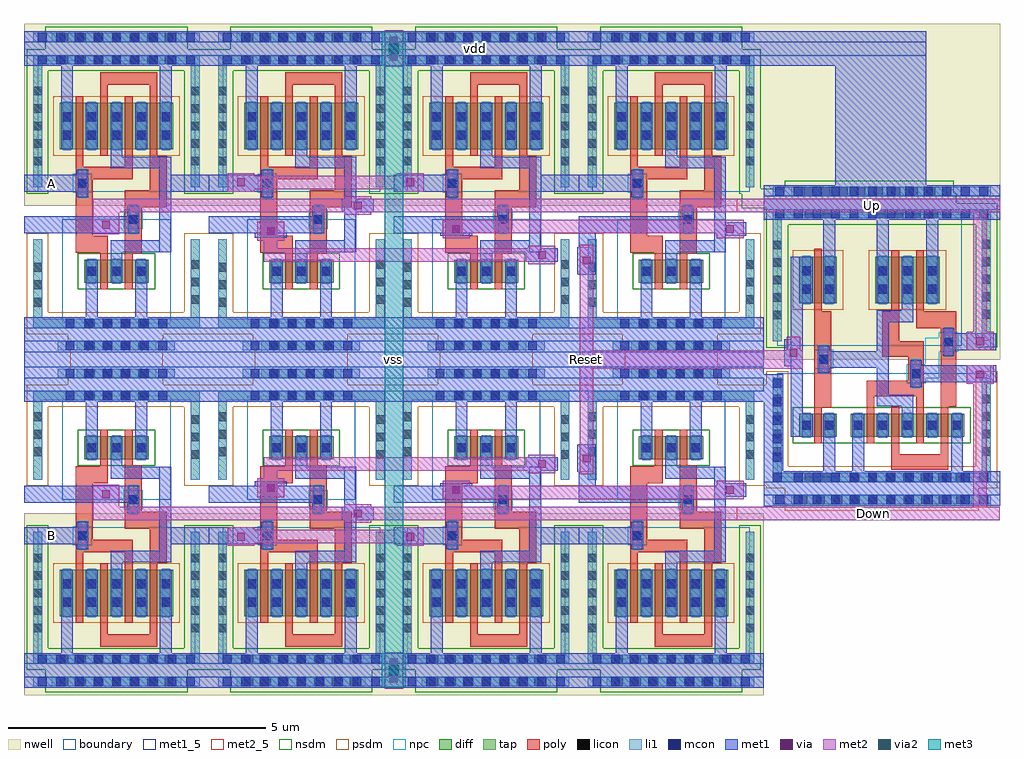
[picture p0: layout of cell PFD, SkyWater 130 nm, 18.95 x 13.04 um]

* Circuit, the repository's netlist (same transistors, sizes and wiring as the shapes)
**.subckt PFD vdd vss A B Down Up Reset
*.iopin vdd
*.iopin vss
*.ipin A
*.ipin B
*.opin Down
*.opin Up
*.iopin Reset
x1 vdd A Up Reset vss DFF
x2 vdd B Down Reset vss DFF
x3 vdd Reset Up Down vss and_pfd
**.ends

* expanding   symbol:  DFF.sym # of pins=5
* sym_path: /home/dhernando/caravel_analog_fulgor/xschem/DFF.sym
* sch_path: /home/dhernando/caravel_analog_fulgor/xschem/DFF.sch
.subckt DFF  D CLK Q Reset vss
*.ipin D
*.ipin CLK
*.opin Q
*.ipin Reset
*.iopin vss
x1 D CLK Q P vss nor
x2 D P P1 Q vss nor
x3 D P P2 P1 vss nor
x4 D P1 Reset P2 vss nor
.ends


* expanding   symbol:  and_pfd.sym # of pins=5
* sym_path: /home/dhernando/caravel_analog_fulgor/xschem/and_pfd.sym
* sch_path: /home/dhernando/caravel_analog_fulgor/xschem/and_pfd.sch
.subckt and_pfd  vdd out A B vss
*.iopin vdd
*.iopin vss
*.opin out
*.ipin A
*.ipin B
XM1 out_nand A net1 vss sky130_fd_pr__nfet_01v8 L=0.15 W=0.45 nf=1 ad='int((nf+1)/2) * W/nf * 0.29' as='int((nf+2)/2) * W/nf * 0.29'
+ pd='2*int((nf+1)/2) * (W/nf + 0.29)' ps='2*int((nf+2)/2) * (W/nf + 0.29)' nrd='0.29 / W' nrs='0.29 / W'
+ sa=0 sb=0 sd=0 mult=1 m=1 
XM2 out_nand A vdd vdd sky130_fd_pr__pfet_01v8 L=0.15 W=0.9 nf=1 ad='int((nf+1)/2) * W/nf * 0.29' as='int((nf+2)/2) * W/nf * 0.29'
+ pd='2*int((nf+1)/2) * (W/nf + 0.29)' ps='2*int((nf+2)/2) * (W/nf + 0.29)' nrd='0.29 / W' nrs='0.29 / W'
+ sa=0 sb=0 sd=0 mult=1 m=1 
XM3 net1 B vss vss sky130_fd_pr__nfet_01v8 L=0.15 W=0.45 nf=1 ad='int((nf+1)/2) * W/nf * 0.29' as='int((nf+2)/2) * W/nf * 0.29'
+ pd='2*int((nf+1)/2) * (W/nf + 0.29)' ps='2*int((nf+2)/2) * (W/nf + 0.29)' nrd='0.29 / W' nrs='0.29 / W'
+ sa=0 sb=0 sd=0 mult=1 m=1 
XM4 out_nand B net2 vss sky130_fd_pr__nfet_01v8 L=0.15 W=0.45 nf=1 ad='int((nf+1)/2) * W/nf * 0.29' as='int((nf+2)/2) * W/nf * 0.29'
+ pd='2*int((nf+1)/2) * (W/nf + 0.29)' ps='2*int((nf+2)/2) * (W/nf + 0.29)' nrd='0.29 / W' nrs='0.29 / W'
+ sa=0 sb=0 sd=0 mult=1 m=1 
XM5 net2 A vss vss sky130_fd_pr__nfet_01v8 L=0.15 W=0.45 nf=1 ad='int((nf+1)/2) * W/nf * 0.29' as='int((nf+2)/2) * W/nf * 0.29'
+ pd='2*int((nf+1)/2) * (W/nf + 0.29)' ps='2*int((nf+2)/2) * (W/nf + 0.29)' nrd='0.29 / W' nrs='0.29 / W'
+ sa=0 sb=0 sd=0 mult=1 m=1 
XM6 out_nand B vdd vdd sky130_fd_pr__pfet_01v8 L=0.15 W=0.9 nf=1 ad='int((nf+1)/2) * W/nf * 0.29' as='int((nf+2)/2) * W/nf * 0.29'
+ pd='2*int((nf+1)/2) * (W/nf + 0.29)' ps='2*int((nf+2)/2) * (W/nf + 0.29)' nrd='0.29 / W' nrs='0.29 / W'
+ sa=0 sb=0 sd=0 mult=1 m=1 
XM7 out out_nand vdd vdd sky130_fd_pr__pfet_01v8 L=0.15 W=0.9 nf=1 ad='int((nf+1)/2) * W/nf * 0.29' as='int((nf+2)/2) * W/nf * 0.29'
+ pd='2*int((nf+1)/2) * (W/nf + 0.29)' ps='2*int((nf+2)/2) * (W/nf + 0.29)' nrd='0.29 / W' nrs='0.29 / W'
+ sa=0 sb=0 sd=0 mult=1 m=1 
XM8 out out_nand vss vss sky130_fd_pr__nfet_01v8 L=0.15 W=0.45 nf=1 ad='int((nf+1)/2) * W/nf * 0.29'
+ as='int((nf+2)/2) * W/nf * 0.29' pd='2*int((nf+1)/2) * (W/nf + 0.29)' ps='2*int((nf+2)/2) * (W/nf + 0.29)'
+ nrd='0.29 / W' nrs='0.29 / W' sa=0 sb=0 sd=0 mult=1 m=1 
.ends


* expanding   symbol:  nor.sym # of pins=5
* sym_path: /home/dhernando/caravel_analog_fulgor/xschem/nor.sym
* sch_path: /home/dhernando/caravel_analog_fulgor/xschem/nor.sch
.subckt nor  vdd A B out vss
*.ipin A
*.ipin B
*.iopin vdd
*.opin out
*.iopin vss
XM1 out A vss vss sky130_fd_pr__nfet_01v8 L=0.15 W=0.45 nf=1 ad='int((nf+1)/2) * W/nf * 0.29' as='int((nf+2)/2) * W/nf * 0.29'
+ pd='2*int((nf+1)/2) * (W/nf + 0.29)' ps='2*int((nf+2)/2) * (W/nf + 0.29)' nrd='0.29 / W' nrs='0.29 / W'
+ sa=0 sb=0 sd=0 mult=1 m=1 
XM2 out B vss vss sky130_fd_pr__nfet_01v8 L=0.15 W=0.45 nf=1 ad='int((nf+1)/2) * W/nf * 0.29' as='int((nf+2)/2) * W/nf * 0.29'
+ pd='2*int((nf+1)/2) * (W/nf + 0.29)' ps='2*int((nf+2)/2) * (W/nf + 0.29)' nrd='0.29 / W' nrs='0.29 / W'
+ sa=0 sb=0 sd=0 mult=1 m=1 
XM4 out B net1 vdd sky130_fd_pr__pfet_01v8 L=0.15 W=0.9 nf=1 ad='int((nf+1)/2) * W/nf * 0.29' as='int((nf+2)/2) * W/nf * 0.29'
+ pd='2*int((nf+1)/2) * (W/nf + 0.29)' ps='2*int((nf+2)/2) * (W/nf + 0.29)' nrd='0.29 / W' nrs='0.29 / W'
+ sa=0 sb=0 sd=0 mult=1 m=1 
XM3 net1 A vdd vdd sky130_fd_pr__pfet_01v8 L=0.15 W=0.9 nf=1 ad='int((nf+1)/2) * W/nf * 0.29' as='int((nf+2)/2) * W/nf * 0.29'
+ pd='2*int((nf+1)/2) * (W/nf + 0.29)' ps='2*int((nf+2)/2) * (W/nf + 0.29)' nrd='0.29 / W' nrs='0.29 / W'
+ sa=0 sb=0 sd=0 mult=1 m=1 
XM5 net2 B vdd vdd sky130_fd_pr__pfet_01v8 L=0.15 W=0.9 nf=1 ad='int((nf+1)/2) * W/nf * 0.29' as='int((nf+2)/2) * W/nf * 0.29'
+ pd='2*int((nf+1)/2) * (W/nf + 0.29)' ps='2*int((nf+2)/2) * (W/nf + 0.29)' nrd='0.29 / W' nrs='0.29 / W'
+ sa=0 sb=0 sd=0 mult=1 m=1 
XM6 out A net2 vdd sky130_fd_pr__pfet_01v8 L=0.15 W=0.9 nf=1 ad='int((nf+1)/2) * W/nf * 0.29' as='int((nf+2)/2) * W/nf * 0.29'
+ pd='2*int((nf+1)/2) * (W/nf + 0.29)' ps='2*int((nf+2)/2) * (W/nf + 0.29)' nrd='0.29 / W' nrs='0.29 / W'
+ sa=0 sb=0 sd=0 mult=1 m=1 
.ends

** flattened .save nodes
.end

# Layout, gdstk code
from math import pi, radians
import gdstk
lib = gdstk.Library(unit=1e-6, precision=1e-09)
def R(c, l, rs):  # rectangles x0, y0, x1, y1
    for r in rs: c.add(gdstk.rectangle(r[:2], r[2:], *l))
def A(c, l, x, y, w, h, nx, ny, dx, dy):  # array of equal rectangles
    R(c, l, [(x+i*dx, y+j*dy, x+i*dx+w, y+j*dy+h) for i in range(nx) for j in range(ny)])
nwell = (64, 20)
diff = (65, 20)
tap = (65, 44)
poly = (66, 20)
licon = (66, 44)
li1 = (67, 20)
mcon = (67, 44)
met1_5 = (68, 5)
met1 = (68, 20)
via = (68, 44)
met2_5 = (69, 5)
met2 = (69, 20)
via2 = (69, 44)
met3 = (70, 20)
nsdm = (93, 44)
psdm = (94, 20)
npc = (95, 20)
boundary = (235, 4)

sky130_fd_pr__pfet_01v8_ = lib.new_cell('sky130_fd_pr__pfet_01v8_4F7GBC')
R(sky130_fd_pr__pfet_01v8_, nwell, [(-1.055,-1.545,1.055,1.545)])
R(sky130_fd_pr__pfet_01v8_, diff, [(-0.365,-0.45,0.365,0.45)])
R(sky130_fd_pr__pfet_01v8_, tap, [(0.705,-1.195,0.875,1.195), (-0.705,1.195,0.875,1.365)])
R(sky130_fd_pr__pfet_01v8_, poly, [(-0.255,-0.935,0.075,-0.605), (-0.075,-0.605,0.075,0.605)])
A(sky130_fd_pr__pfet_01v8_, licon, 0.705, -0.765, 0.17, 0.17, 1, 5, 0, 0.34)
R(sky130_fd_pr__pfet_01v8_, licon, [(-0.305,-0.255,-0.135,-0.085), (0.135,-0.255,0.305,-0.085), (-0.305,0.085,-0.135,0.255), (0.135,0.085,0.305,0.255), (-0.255,1.195,-0.085,1.365), (0.085,1.195,0.255,1.365)])
R(sky130_fd_pr__pfet_01v8_, li1, [(0.705,-1.195,0.875,1.195), (-0.305,-0.47,-0.135,0.47), (0.135,-0.47,0.305,0.47), (-0.705,1.195,0.875,1.365)])
R(sky130_fd_pr__pfet_01v8_, mcon, [(-0.305,-0.265,-0.135,-0.095), (0.135,-0.265,0.305,-0.095), (-0.305,0.095,-0.135,0.265), (0.135,0.095,0.305,0.265)])
R(sky130_fd_pr__pfet_01v8_, met1, [(-0.335,-0.45,-0.105,0.45), (0.105,-0.45,0.335,0.45)])
R(sky130_fd_pr__pfet_01v8_, nsdm, [(0.58,-1.32,1,1.07), (-0.83,1.07,1,1.49)])
R(sky130_fd_pr__pfet_01v8_, psdm, [(-0.49,-0.575,0.49,0.575)])
R(sky130_fd_pr__pfet_01v8_, boundary, [(-0.79,-1.28,0.79,1.28)])

sky130_fd_pr__nfet_01v8_ = lib.new_cell('sky130_fd_pr__nfet_01v8_ZXAV3F')
R(sky130_fd_pr__nfet_01v8_, diff, [(-0.365,-0.225,0.365,0.225)])
R(sky130_fd_pr__nfet_01v8_, tap, [(-0.705,-1.095,0.875,-0.925), (0.705,-0.925,0.875,0.925)])
R(sky130_fd_pr__nfet_01v8_, poly, [(-0.075,-0.355,0.075,0.335), (-0.165,0.335,0.075,0.665)])
A(sky130_fd_pr__nfet_01v8_, licon, 0.705, -0.595, 0.17, 0.17, 1, 4, 0, 0.34)
R(sky130_fd_pr__nfet_01v8_, licon, [(-0.255,-1.095,-0.085,-0.925), (0.085,-1.095,0.255,-0.925), (-0.305,-0.085,-0.135,0.085), (0.135,-0.085,0.305,0.085)])
R(sky130_fd_pr__nfet_01v8_, li1, [(-0.705,-1.095,0.875,-0.925), (0.705,-0.925,0.875,0.925), (-0.305,-0.245,-0.135,0.245), (0.135,-0.245,0.305,0.245)])
R(sky130_fd_pr__nfet_01v8_, mcon, [(-0.305,-0.085,-0.135,0.085), (0.135,-0.085,0.305,0.085)])
R(sky130_fd_pr__nfet_01v8_, met1, [(-0.335,-0.225,-0.105,0.225), (0.105,-0.225,0.335,0.225)])
R(sky130_fd_pr__nfet_01v8_, nsdm, [(-0.49,-0.35,0.49,0.35)])
R(sky130_fd_pr__nfet_01v8_, psdm, [(-0.83,-1.22,1,-0.8), (0.58,-0.8,1,1.05)])
R(sky130_fd_pr__nfet_01v8_, boundary, [(-0.79,-1.01,0.79,1.01)])

c_sky130_fd_pr__nfet_01v8_ = lib.new_cell('sky130_fd_pr__nfet_01v8_ZCYAJJ')
R(c_sky130_fd_pr__nfet_01v8_, diff, [(-1.105,-0.225,1.105,0.225)])
R(c_sky130_fd_pr__nfet_01v8_, tap, [(-1.615,-1.095,1.445,-0.925), (-1.615,-0.925,-1.445,0.925)])
R(c_sky130_fd_pr__nfet_01v8_, poly, [(-0.795,-0.865,0.315,-0.565), (-0.795,-0.565,-0.645,0.355), (0.165,-0.565,0.315,0.355), (-0.315,-0.355,-0.165,0.565), (0.645,-0.355,0.795,0.565), (-0.315,0.565,0.795,0.865)])
A(c_sky130_fd_pr__nfet_01v8_, licon, -1.105, -1.095, 0.17, 0.17, 7, 1, 0.34, 0)
A(c_sky130_fd_pr__nfet_01v8_, licon, -1.615, -0.595, 0.17, 0.17, 1, 4, 0, 0.34)
A(c_sky130_fd_pr__nfet_01v8_, licon, -1.045, -0.085, 0.17, 0.17, 5, 1, 0.48, 0)
A(c_sky130_fd_pr__nfet_01v8_, li1, -1.045, -0.245, 0.17, 0.49, 5, 1, 0.48, 0)
R(c_sky130_fd_pr__nfet_01v8_, li1, [(-1.615,-1.095,1.445,-0.925), (-1.615,-0.925,-1.445,0.925)])
A(c_sky130_fd_pr__nfet_01v8_, mcon, -1.045, -0.085, 0.17, 0.17, 5, 1, 0.48, 0)
A(c_sky130_fd_pr__nfet_01v8_, met1, -1.075, -0.225, 0.23, 0.45, 5, 1, 0.48, 0)
R(c_sky130_fd_pr__nfet_01v8_, nsdm, [(-1.23,-0.35,1.23,0.35)])
R(c_sky130_fd_pr__nfet_01v8_, psdm, [(-1.74,-1.22,1.57,-0.8), (-1.74,-0.8,-1.32,1.05)])
R(c_sky130_fd_pr__nfet_01v8_, boundary, [(-1.53,-1.01,1.53,1.01)])

c_sky130_fd_pr__pfet_01v8_ = lib.new_cell('sky130_fd_pr__pfet_01v8_7T83YG')
R(c_sky130_fd_pr__pfet_01v8_, nwell, [(-1.315,-1.545,1.315,1.545)])
R(c_sky130_fd_pr__pfet_01v8_, diff, [(-0.625,-0.45,0.625,0.45)])
R(c_sky130_fd_pr__pfet_01v8_, tap, [(-0.965,1.195,0.965,1.365)])
R(c_sky130_fd_pr__pfet_01v8_, poly, [(-0.495,-0.935,-0.165,-0.605), (0.165,-0.935,0.495,-0.605), (-0.315,-0.605,-0.165,0.58), (0.165,-0.605,0.315,0.58)])
A(c_sky130_fd_pr__pfet_01v8_, licon, -0.565, -0.255, 0.17, 0.17, 3, 2, 0.48, 0.34)
A(c_sky130_fd_pr__pfet_01v8_, licon, -0.595, 1.195, 0.17, 0.17, 4, 1, 0.34, 0)
A(c_sky130_fd_pr__pfet_01v8_, li1, -0.565, -0.47, 0.17, 0.94, 3, 1, 0.48, 0)
R(c_sky130_fd_pr__pfet_01v8_, li1, [(-0.965,1.195,0.965,1.365)])
A(c_sky130_fd_pr__pfet_01v8_, mcon, -0.565, -0.265, 0.17, 0.17, 3, 2, 0.48, 0.36)
A(c_sky130_fd_pr__pfet_01v8_, met1, -0.595, -0.45, 0.23, 0.9, 3, 1, 0.48, 0)
R(c_sky130_fd_pr__pfet_01v8_, nsdm, [(-1.09,1.07,1.09,1.49)])
R(c_sky130_fd_pr__pfet_01v8_, psdm, [(-0.75,-0.575,0.75,0.575)])
R(c_sky130_fd_pr__pfet_01v8_, boundary, [(-1.05,-1.28,1.05,1.28)])

and_pfd = lib.new_cell('and_pfd')
R(and_pfd, nwell, [(0,2.99,0.48,6.08), (0,6.08,4.59,6.52)])
R(and_pfd, tap, [(0.54,0.18,4.05,0.35), (0.18,3.355,0.35,5.73), (0.18,5.73,1.065,5.9), (2.76,5.73,3.08,5.9), (1.02,6.17,4.05,6.34)])
R(and_pfd, poly, [(3.28,2.05,3.61,3.93), (0.85,2.07,1.15,3.6), (1.48,2.28,1.78,3.045), (1.48,3.045,2.29,3.345), (1.96,3.345,2.29,3.93), (0.85,3.6,1.63,3.93)])
A(and_pfd, licon, 0.68, 0.18, 0.17, 0.17, 10, 1, 0.34, 0)
A(and_pfd, licon, 0.18, 3.785, 0.17, 0.17, 1, 5, 0, 0.34)
A(and_pfd, licon, 1.26, 6.17, 0.17, 0.17, 8, 1, 0.34, 0)
R(and_pfd, licon, [(1.545,2.63,1.715,2.8), (3.335,2.91,3.505,3.08), (0.915,3.245,1.085,3.415)])
R(and_pfd, li1, [(0.18,0.18,4.41,0.35), (0.18,0.62,4.41,0.79), (4.24,0.79,4.41,2.64), (1.545,2.43,1.715,3), (3.335,2.71,3.505,3.28), (0.915,3.045,1.085,3.615), (0.18,3.355,0.35,5.73), (0.18,5.73,4.41,5.9), (0.18,6.17,4.41,6.34)])
A(and_pfd, mcon, 0.23, 0.18, 0.17, 0.17, 12, 2, 0.36, 5.55)
A(and_pfd, mcon, 0.23, 0.62, 0.17, 0.17, 11, 1, 0.36, 0)
A(and_pfd, mcon, 4.24, 1.005, 0.17, 0.17, 1, 5, 0, 0.36)
A(and_pfd, mcon, 0.23, 6.17, 0.17, 0.17, 12, 1, 0.36, 0)
R(and_pfd, mcon, [(4.24,0.62,4.41,0.79), (1.545,2.63,1.715,2.8), (3.335,2.91,3.505,3.08), (0.915,3.245,1.085,3.415)])
R(and_pfd, met1_5, [(0,0.35,4.59,0.62), (3.83,1.49,4.06,4.985), (0.18,2.55,1.545,2.88), (0.18,3.165,0.915,3.495), (0,5.9,4.59,6.17)])
R(and_pfd, met1, [(4.42,0.14,4.59,0.15), (0,0.15,4.59,0.82), (0.72,0.82,0.95,1.535), (2.64,0.82,2.87,1.54), (3.2,0.82,3.43,1.51), (4.21,0.82,4.44,2.7), (3.83,1.49,4.06,4.985), (1.68,1.94,1.91,2.08), (1.68,2.08,2.39,2.31), (2.16,2.31,2.39,2.825), (1.515,2.45,1.745,2.55), (0.18,2.55,1.745,2.88), (3.305,2.73,3.535,2.825), (2.16,2.825,3.535,3.155), (1.515,2.88,1.745,2.98), (0.885,3.065,1.115,3.165), (2.16,3.155,2.39,3.715), (3.305,3.155,3.535,3.26), (0.18,3.165,1.115,3.495), (0.885,3.495,1.115,3.595), (1.68,3.715,2.39,3.945), (1.68,3.945,1.91,4.145), (2.16,4.925,2.39,5.7), (3.2,4.94,3.43,5.7), (1.2,4.985,1.43,5.7), (0,5.7,4.59,6.37)])
R(and_pfd, nsdm, [(3.025,1.365,3.045,2.065), (0.055,3.23,0.475,5.605), (0.055,5.605,1.19,5.85), (2.635,5.605,3.205,6.025), (0.055,5.85,1.235,6.025), (0.85,6.025,4.175,6.22), (0.895,6.22,4.175,6.465)])
R(and_pfd, psdm, [(0.415,0.055,4.175,0.495)])
R(and_pfd, npc, [(1.445,2.53,1.815,2.63), (1.18,2.63,1.815,2.9), (3.235,2.81,3.605,3.18), (1.18,2.9,1.45,3.145), (0.815,3.145,1.45,3.415), (0.815,3.415,1.185,3.515)])
and_pfd.add(gdstk.Reference(sky130_fd_pr__pfet_01v8_, (3.535,4.535)))
and_pfd.add(gdstk.Reference(sky130_fd_pr__nfet_01v8_, (3.535,1.715)))
and_pfd.add(gdstk.Reference(c_sky130_fd_pr__nfet_01v8_, (1.795,1.715)))
and_pfd.add(gdstk.Reference(c_sky130_fd_pr__pfet_01v8_, (1.795,4.535)))
and_pfd.add(gdstk.Label('vss', (2.295,0.485), layer=68, texttype=5))
and_pfd.add(gdstk.Label('vdd', (2.295,6.035), layer=68, texttype=5))
and_pfd.add(gdstk.Label('A', (0.547,3.33), layer=68, texttype=5))
and_pfd.add(gdstk.Label('B', (0.862,2.715), layer=68, texttype=5))
and_pfd.add(gdstk.Label('out', (3.945,3.237), layer=68, texttype=5))

c_sky130_fd_pr__pfet_01v8__ = lib.new_cell('sky130_fd_pr__pfet_01v8_4F35BC')
R(c_sky130_fd_pr__pfet_01v8__, nwell, [(-1.795,-1.545,1.795,1.545)])
R(c_sky130_fd_pr__pfet_01v8__, diff, [(-1.105,-0.45,1.105,0.45)])
R(c_sky130_fd_pr__pfet_01v8__, tap, [(-1.615,-1.195,-1.445,1.195), (1.445,-1.195,1.615,1.195), (-1.615,1.195,1.615,1.365)])
R(c_sky130_fd_pr__pfet_01v8__, poly, [(-0.795,-1.035,0.315,-0.79), (0.645,-0.91,0.975,-0.58), (-0.795,-0.79,-0.645,0.58), (0.165,-0.79,0.315,0.58), (-0.315,-0.58,-0.165,0.795), (0.645,-0.58,0.795,0.795), (-0.315,0.795,0.795,1.04)])
A(c_sky130_fd_pr__pfet_01v8__, licon, -1.615, -0.765, 0.17, 0.17, 1, 5, 0, 0.34)
A(c_sky130_fd_pr__pfet_01v8__, licon, 1.445, -0.765, 0.17, 0.17, 1, 5, 0, 0.34)
A(c_sky130_fd_pr__pfet_01v8__, licon, -1.045, -0.255, 0.17, 0.17, 5, 2, 0.48, 0.34)
A(c_sky130_fd_pr__pfet_01v8__, licon, -1.105, 1.195, 0.17, 0.17, 7, 1, 0.34, 0)
A(c_sky130_fd_pr__pfet_01v8__, li1, -1.045, -0.47, 0.17, 0.94, 5, 1, 0.48, 0)
R(c_sky130_fd_pr__pfet_01v8__, li1, [(-1.615,-1.195,-1.445,1.195), (1.445,-1.195,1.615,1.195), (-1.615,1.195,1.615,1.365)])
A(c_sky130_fd_pr__pfet_01v8__, mcon, -1.045, -0.265, 0.17, 0.17, 5, 2, 0.48, 0.36)
A(c_sky130_fd_pr__pfet_01v8__, met1, -1.075, -0.45, 0.23, 0.9, 5, 1, 0.48, 0)
R(c_sky130_fd_pr__pfet_01v8__, nsdm, [(-1.74,-1.32,-1.32,1.07), (1.32,-1.32,1.74,1.07), (-1.74,1.07,1.74,1.49)])
R(c_sky130_fd_pr__pfet_01v8__, psdm, [(-1.23,-0.575,1.23,0.575)])
R(c_sky130_fd_pr__pfet_01v8__, boundary, [(-1.53,-1.28,1.53,1.28)])

c_sky130_fd_pr__nfet_01v8__ = lib.new_cell('sky130_fd_pr__nfet_01v8_C3YG4M')
R(c_sky130_fd_pr__nfet_01v8__, diff, [(-0.625,-0.225,0.625,0.225)])
R(c_sky130_fd_pr__nfet_01v8__, tap, [(-0.965,-1.095,0.965,-0.925)])
R(c_sky130_fd_pr__nfet_01v8__, poly, [(-0.315,-0.355,-0.165,0.355), (0.165,-0.355,0.315,0.335), (0.165,0.335,0.495,0.665), (-0.645,0.355,-0.165,0.685)])
A(c_sky130_fd_pr__nfet_01v8__, licon, -0.595, -1.095, 0.17, 0.17, 4, 1, 0.34, 0)
A(c_sky130_fd_pr__nfet_01v8__, licon, -0.565, -0.085, 0.17, 0.17, 3, 1, 0.48, 0)
A(c_sky130_fd_pr__nfet_01v8__, li1, -0.565, -0.245, 0.17, 0.49, 3, 1, 0.48, 0)
R(c_sky130_fd_pr__nfet_01v8__, li1, [(-0.965,-1.095,0.965,-0.925)])
A(c_sky130_fd_pr__nfet_01v8__, mcon, -0.565, -0.085, 0.17, 0.17, 3, 1, 0.48, 0)
A(c_sky130_fd_pr__nfet_01v8__, met1, -0.595, -0.225, 0.23, 0.45, 3, 1, 0.48, 0)
R(c_sky130_fd_pr__nfet_01v8__, nsdm, [(-0.75,-0.35,0.75,0.35)])
R(c_sky130_fd_pr__nfet_01v8__, psdm, [(-1.09,-1.22,1.09,-0.8)])
R(c_sky130_fd_pr__nfet_01v8__, boundary, [(-1.05,-1.01,1.05,1.01)])

nor_pfd = lib.new_cell('nor_pfd')
R(nor_pfd, nwell, [(-1.175,8.42,2.415,8.86)])
R(nor_pfd, tap, [(-0.155,2.52,1.395,2.69), (-0.995,2.96,-0.115,3.13), (1.275,2.96,2.235,3.13), (-0.995,3.13,-0.825,4.67), (2.065,3.13,2.235,4.67), (-0.635,8.51,1.875,8.68)])
R(nor_pfd, poly, [(0.785,4.39,1.115,5.295), (-0.175,4.41,0.305,4.74), (-0.175,4.74,0.155,6.085), (0.785,5.295,1.595,5.625), (1.265,5.625,1.595,6.295)])
A(nor_pfd, licon, 0.025, 2.52, 0.17, 0.17, 4, 1, 0.34, 0)
A(nor_pfd, licon, -0.995, 3.365, 0.17, 0.17, 1, 3, 0, 0.34)
A(nor_pfd, licon, 2.065, 3.42, 0.17, 0.17, 1, 3, 0, 0.34)
A(nor_pfd, licon, -0.485, 8.51, 0.17, 0.17, 7, 1, 0.34, 0)
R(nor_pfd, licon, [(0.86,4.975,1.03,5.145), (-0.125,5.675,0.045,5.845)])
R(nor_pfd, li1, [(-0.515,2.52,1.755,2.69), (-0.995,2.96,2.235,3.13), (-0.995,3.13,-0.825,4.67), (2.065,3.13,2.235,4.67), (0.86,4.775,1.03,5.345), (-0.125,5.475,0.045,6.045), (-0.995,8.07,2.235,8.24), (-0.995,8.51,2.235,8.68)])
A(nor_pfd, mcon, -0.365, 2.52, 0.17, 0.17, 6, 2, 0.36, 0.44)
A(nor_pfd, mcon, -0.905, 8.07, 0.17, 0.17, 9, 2, 0.36, 0.44)
R(nor_pfd, mcon, [(0.86,4.975,1.03,5.145), (-0.125,5.675,0.045,5.845)])
R(nor_pfd, met1_5, [(-1.175,2.69,2.415,2.96), (1.455,4.425,1.685,6.28), (-1.175,4.795,0.86,5.125), (-1.175,5.6,-0.125,5.93), (-1.175,8.24,2.415,8.51)])
R(nor_pfd, met1, [(-1.175,2.49,2.415,3.16), (0.025,3.16,0.255,3.87), (0.985,3.16,1.215,3.88), (0.505,4.275,0.735,4.425), (0.505,4.425,1.685,4.655), (1.455,4.655,1.685,6.05), (-1.175,4.795,1.06,5.125), (0.83,5.125,1.06,5.325), (-0.155,5.495,0.075,5.6), (-1.175,5.6,0.075,5.93), (-0.155,5.93,0.075,6.025), (0.505,6.05,1.685,6.28), (0.505,6.28,0.735,6.485), (1.465,6.875,1.645,7.315), (-0.455,7.315,-0.225,8.04), (1.465,7.315,1.695,8.04), (-1.175,8.04,2.415,8.71)])
R(nor_pfd, nsdm, [(-0.76,8.365,2,8.805)])
R(nor_pfd, psdm, [(-0.28,2.395,1.52,2.635), (-0.325,2.635,1.52,2.75), (-0.325,2.75,1.525,2.835), (-1.12,2.835,0.055,3.015), (1.145,2.835,2.36,2.9), (1.15,2.9,2.36,3.255), (-1.12,3.015,0.01,3.255), (-1.12,3.255,-0.7,4.795), (1.94,3.255,2.36,4.795)])
R(nor_pfd, npc, [(0.76,4.875,1.13,5.245), (-0.225,5.575,0.145,5.945)])
nor_pfd.add(gdstk.Reference(c_sky130_fd_pr__pfet_01v8__, (0.62,6.875)))
nor_pfd.add(gdstk.Reference(c_sky130_fd_pr__nfet_01v8__, (0.62,4.055)))
nor_pfd.add(gdstk.Label('vdd', (0.62,8.375), layer=68, texttype=5))
nor_pfd.add(gdstk.Label('vss', (0.62,2.825), layer=68, texttype=5))
nor_pfd.add(gdstk.Label('A', (-0.65,5.765), layer=68, texttype=5))
nor_pfd.add(gdstk.Label('B', (-0.157,4.96), layer=68, texttype=5))
nor_pfd.add(gdstk.Label('out', (1.57,5.352), layer=68, texttype=5))

dff_pfd = lib.new_cell('dff_pfd')
R(dff_pfd, met1_5, [(0,0.35,14.36,0.62), (0,3.26,1.05,3.59), (0,5.9,14.36,6.17)])
R(dff_pfd, met1, [(0,0.35,14.36,0.62), (10.77,1.645,11.1,1.66), (10.745,1.66,11.105,2.18), (9.745,1.9,10.365,2.16), (10.77,2.18,11.1,2.785), (4.48,2.36,5.1,2.62), (8.08,2.405,8.7,2.665), (13.4,2.405,14.02,2.665), (1.28,2.485,1.9,2.745), (6.17,2.86,6.79,3.12), (0,3.26,1.05,3.59), (2.725,3.26,4.23,3.31), (9.895,3.26,11.54,3.59), (2.725,3.31,4.525,3.57), (7.19,3.31,7.81,3.57), (2.725,3.57,4.23,3.59), (0,5.9,14.36,6.17)])
R(dff_pfd, via, [(10.85,1.845,11,1.995), (9.98,1.955,10.13,2.105), (4.715,2.415,4.865,2.565), (8.315,2.46,8.465,2.61), (13.635,2.46,13.785,2.61), (1.515,2.54,1.665,2.69), (6.405,2.915,6.555,3.065), (4.14,3.365,4.29,3.515), (7.425,3.365,7.575,3.515)])
R(dff_pfd, met2_5, [(10.795,1.66,11.055,2.18), (13.84,2.86,14.36,3.12)])
R(dff_pfd, met2, [(10.795,1.61,11.055,2.23), (9.795,1.85,10.315,1.9), (4.655,1.9,10.315,2.16), (4.655,2.16,4.915,2.31), (9.795,2.16,10.315,2.21), (4.53,2.31,5.05,2.67), (8.13,2.355,8.65,2.455), (13.45,2.355,13.97,2.455), (1.33,2.435,1.85,2.86), (8.13,2.455,13.97,2.715), (6.22,2.81,6.74,2.86), (1.33,2.86,14.36,3.12), (6.22,3.12,6.74,3.17), (3.955,3.26,4.475,3.31), (7.24,3.26,7.76,3.31), (3.955,3.31,7.76,3.57), (3.955,3.57,4.475,3.62), (7.24,3.57,7.76,3.62)])
A(dff_pfd, nsdm, 3.535, 3.215, 0.11, 2.81, 3, 1, 3.59, 0)
A(dff_pfd, psdm, 3.535, 0.495, 0.11, 1.96, 3, 1, 3.59, 0)
dff_pfd.add(gdstk.Reference(nor_pfd, (11.945,-2.34)))
dff_pfd.add(gdstk.Reference(nor_pfd, (8.355,-2.34)))
dff_pfd.add(gdstk.Reference(nor_pfd, (4.765,-2.34)))
dff_pfd.add(gdstk.Reference(nor_pfd, (1.175,-2.34)))
dff_pfd.add(gdstk.Label('CLK', (0.525,3.425), layer=68, texttype=5))
dff_pfd.add(gdstk.Label('vdd', (7.18,6.035), layer=68, texttype=5))
dff_pfd.add(gdstk.Label('vss', (7.18,0.485), layer=68, texttype=5))
dff_pfd.add(gdstk.Label('Q', (14.1,2.99), layer=69, texttype=5))
dff_pfd.add(gdstk.Label('Reset', (10.925,1.92), layer=69, texttype=5))

pfd = lib.new_cell('PFD')
R(pfd, nwell, [(16.205,3.5,18.84,3.53), (14.36,3.53,18.95,6.52)])
R(pfd, met1_5, [(0,-3.59,1.05,-3.26), (0,-0.15,14.36,0.15), (0,3.26,1.05,3.59), (0,5.9,17.52,6.17)])
R(pfd, met1, [(6.95,-6.34,7.41,-6.17), (0,-6.17,14.36,-5.9), (6.95,-5.9,7.41,-5.73), (0,-3.59,1.05,-3.26), (14.36,-2.17,14.595,-0.82), (14.325,-0.82,14.595,-0.29), (18.58,-0.44,18.875,-0.42), (18.255,-0.42,18.875,-0.16), (0.875,-0.18,10.615,-0.15), (10.795,-0.18,13.93,-0.15), (18.76,-0.16,18.875,-0.11), (0,-0.15,14.36,0.15), (14.76,-0.13,15.12,0.39), (0.875,0.15,13.93,0.18), (18.77,0.175,18.875,0.225), (10.615,0.18,10.88,0.195), (18.255,0.225,18.875,0.485), (18.77,0.485,18.875,0.505), (0,3.26,1.05,3.59), (15.75,3.38,17.52,5.7), (14.18,5.7,17.52,5.9), (6.95,5.73,7.41,5.9), (0,5.9,17.52,6.17), (6.95,6.17,7.41,6.34), (14.18,6.17,17.52,6.37)])
R(pfd, via, [(7.105,-6.27,7.255,-6.12), (7.105,-5.95,7.255,-5.8), (18.49,-0.365,18.64,-0.215), (14.865,0.055,15.015,0.205), (18.49,0.28,18.64,0.43), (7.105,5.8,7.255,5.95), (7.105,6.12,7.255,6.27)])
R(pfd, met2_5, [(14.03,-3.12,18.945,-2.86), (10.795,-2.18,11.055,2.18), (14.01,2.86,18.95,3.12)])
R(pfd, met2, [(7,-6.39,7.36,-5.68), (14.03,-3.12,18.945,-2.86), (18.43,-2.86,18.69,-0.47), (10.795,-2.18,11.055,-0.18), (18.305,-0.47,18.825,-0.11), (10.795,-0.18,15.12,0.18), (18.305,0.175,18.825,0.535), (10.795,0.18,11.055,2.18), (14.81,0.18,15.07,0.44), (18.43,0.535,18.69,2.86), (14.01,2.86,18.95,3.12), (7,5.68,7.36,6.39)])
R(pfd, via2, [(7.08,-6.135,7.28,-5.935), (7.08,5.935,7.28,6.135)])
R(pfd, met3, [(6.95,-6.365,7.41,-5.705), (7,-5.705,7.36,5.705), (6.95,5.705,7.41,6.365)])
R(pfd, nsdm, [(13.935,2.935,14.415,3.035), (13.935,3.035,14.775,3.215), (14.305,3.215,14.775,3.315)])
A(pfd, psdm, 0.895, -0.055, 1.8, 0.11, 4, 1, 3.59, 0)
R(pfd, psdm, [(14.305,-2.455,14.415,-0.495)])
pfd.add(gdstk.Reference(and_pfd, (18.95,-2.99), rotation=pi, x_reflection=True))
pfd.add(gdstk.Reference(dff_pfd, (0,0)))
pfd.add(gdstk.Reference(dff_pfd, (0,0), x_reflection=True))
pfd.add(gdstk.Label('A', (0.525,3.425), layer=68, texttype=5))
pfd.add(gdstk.Label('B', (0.525,-3.425), layer=68, texttype=5))
pfd.add(gdstk.Label('vss', (7.18,0), layer=68, texttype=5))
pfd.add(gdstk.Label('Up', (16.48,2.99), layer=69, texttype=5))
pfd.add(gdstk.Label('Down', (16.487,-2.99), layer=69, texttype=5))
pfd.add(gdstk.Label('vdd', (8.76,6.035), layer=68, texttype=5))
pfd.add(gdstk.Label('Reset', (10.925,0), layer=69, texttype=5))

lib.write_gds('PFD.gds')
